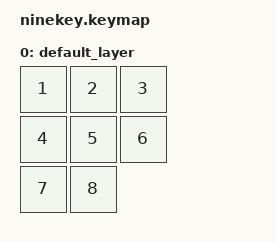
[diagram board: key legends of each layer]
#include <behaviors.dtsi>
#include <dt-bindings/zmk/keys.h>
#include <dt-bindings/zmk/bt.h>

/ {
    combos {
        compatible = "zmk,combos";

        // Fixed physical-position shortcut; remains available after Studio remapping.
        studio_unlock_combo {
            timeout-ms = <50>;
            key-positions = <0 2>; // K1 + K3
            bindings = <&studio_unlock>;
        };
    };

    keymap {
        compatible = "zmk,keymap";

        default_layer {
            bindings = <
                &kp N1  &kp N2  &kp N3
                &kp N4  &kp N5  &kp N6
                &kp N7  &kp N8
            >;
        };
    };
};
